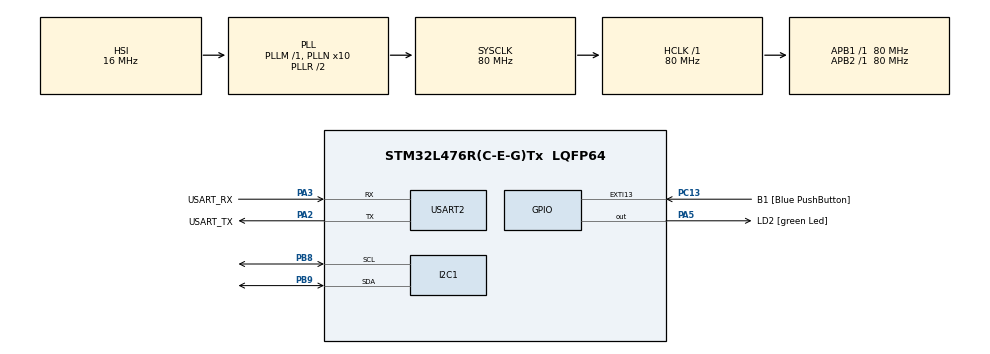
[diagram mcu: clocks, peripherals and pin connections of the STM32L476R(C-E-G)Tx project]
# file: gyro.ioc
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I2C1.Timing=0x10D19CE4
Mcu.Family=STM32L4
Mcu.Name=STM32L476R(C-E-G)Tx
Mcu.Package=LQFP64
NVIC.PriorityGroup=NVIC_PRIORITYGROUP_4
PA13\ (JTMS-SWDIO).GPIO_Label=TMS
PA13\ (JTMS-SWDIO).Mode=Serial_Wire
PA13\ (JTMS-SWDIO).Signal=SYS_JTMS-SWDIO
PA14\ (JTCK-SWCLK).GPIO_Label=TCK
PA14\ (JTCK-SWCLK).Mode=Serial_Wire
PA14\ (JTCK-SWCLK).Signal=SYS_JTCK-SWCLK
PA2.GPIO_Label=USART_TX
PA2.GPIO_Mode=GPIO_MODE_AF_PP
PA2.GPIO_PuPd=GPIO_NOPULL
PA2.GPIO_Speed=GPIO_SPEED_FREQ_VERY_HIGH
PA2.Mode=Asynchronous
PA2.Signal=USART2_TX
PA3.GPIO_Label=USART_RX
PA3.GPIO_Mode=GPIO_MODE_AF_PP
PA3.GPIO_PuPd=GPIO_NOPULL
PA3.GPIO_Speed=GPIO_SPEED_FREQ_VERY_HIGH
PA3.Mode=Asynchronous
PA3.Signal=USART2_RX
PA5.GPIO_Label=LD2 [green Led]
PA5.GPIO_ModeDefaultOutputPP=GPIO_MODE_OUTPUT_PP
PA5.GPIO_PuPd=GPIO_NOPULL
PA5.GPIO_Speed=GPIO_SPEED_FREQ_LOW
PA5.Signal=GPIO_Output
PB3\ (JTDO-TRACESWO).GPIO_Label=SWO
PB3\ (JTDO-TRACESWO).Signal=SYS_JTDO-SWO
PB8.Mode=I2C
PB8.Signal=I2C1_SCL
PB9.Mode=I2C
PB9.Signal=I2C1_SDA
PC13.GPIO_Label=B1 [Blue PushButton]
PC13.GPIO_ModeDefaultEXTI=GPIO_MODE_IT_FALLING
PC13.GPIO_PuPd=GPIO_NOPULL
PC13.Signal=GPXTI13
PC14-OSC32_IN\ (PC14).Mode=LSE-External-Oscillator
PC14-OSC32_IN\ (PC14).Signal=RCC_OSC32_IN
PC15-OSC32_OUT\ (PC15).Mode=LSE-External-Oscillator
PC15-OSC32_OUT\ (PC15).Signal=RCC_OSC32_OUT
PH0-OSC_IN\ (PH0).Signal=RCC_OSC_IN
PH1-OSC_OUT\ (PH1).Signal=RCC_OSC_OUT
ProjectManager.HeapSize=0x200
ProjectManager.StackSize=0x400
ProjectManager.TargetToolchain=STM32CubeIDE
RCC.ADCFreq_Value=64000000
RCC.AHBFreq_Value=80000000
RCC.APB1Freq_Value=80000000
RCC.APB1TimFreq_Value=80000000
RCC.APB2Freq_Value=80000000
RCC.APB2TimFreq_Value=80000000
RCC.CortexFreq_Value=80000000
RCC.HCLKFreq_Value=80000000
RCC.HSE_VALUE=8000000
RCC.HSI_VALUE=16000000
RCC.MSI_VALUE=4000000
RCC.PLLN=10
RCC.PLLSourceVirtual=RCC_PLLSOURCE_HSI
RCC.PREFETCH_ENABLE=1
RCC.SYSCLKFreq_VALUE=80000000
RCC.SYSCLKSource=RCC_SYSCLKSOURCE_PLLCLK
RCC.USBFreq_Value=64000000
RCC.VCOOutputFreq_Value=160000000
USART2.VirtualMode-Asynchronous=VM_ASYNC
board=NUCLEO-L476RG

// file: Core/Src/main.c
/* USER CODE BEGIN Header */
/**
  ******************************************************************************
  * @file           : main.c
  * @brief          : Main program body
  ******************************************************************************
  * @attention
  *
  * Copyright (c) 2025 STMicroelectronics.
  * All rights reserved.
  *
  * This software is licensed under terms that can be found in the LICENSE file
  * in the root directory of this software component.
  * If no LICENSE file comes with this software, it is provided AS-IS.
  *
  ******************************************************************************
  */
/* USER CODE END Header */
#include "main.h"

/* USER CODE BEGIN Includes */
#include"stdio.h"
#include "string.h"
#include "mpu.h"
#include "NanoEdgeAI.h"
#include "knowledge.h"
/* USER CODE END Includes */

I2C_HandleTypeDef hi2c1;

UART_HandleTypeDef huart2;

/* USER CODE BEGIN PV */
float input_user_buffer[DATA_INPUT_USER * AXIS_NUMBER]; // Buffer of input values
float output_class_buffer[CLASS_NUMBER]; // Buffer of class probabilities
const char *id2class[CLASS_NUMBER + 1] = { // Buffer for mapping class id to class name
	"unknown",
	"Z_AXIS",
	"Y_AXIS",
	"X_AXIS",
};
/* USER CODE END PV */

void SystemClock_Config(void);
static void MX_GPIO_Init(void);
static void MX_USART2_UART_Init(void);
static void MX_I2C1_Init(void);

int main(void)
{

  /* MCU Configuration--------------------------------------------------------*/

  /* Reset of all peripherals, Initializes the Flash interface and the Systick. */
  HAL_Init();

  /* Configure the system clock */
  SystemClock_Config();

  /* Initialize all configured peripherals */
  MX_GPIO_Init();
  MX_USART2_UART_Init();
  MX_I2C1_Init();

  /* Infinite loop */
  while (1)
  {

  }
}

void SystemClock_Config(void)
{
  RCC_OscInitTypeDef RCC_OscInitStruct = {0};
  RCC_ClkInitTypeDef RCC_ClkInitStruct = {0};

  /** Configure the main internal regulator output voltage
  */
  if (HAL_PWREx_ControlVoltageScaling(PWR_REGULATOR_VOLTAGE_SCALE1) != HAL_OK)
  {
    Error_Handler();
  }

  /** Initializes the RCC Oscillators according to the specified parameters
  * in the RCC_OscInitTypeDef structure.
  */
  RCC_OscInitStruct.OscillatorType = RCC_OSCILLATORTYPE_HSI;
  RCC_OscInitStruct.HSIState = RCC_HSI_ON;
  RCC_OscInitStruct.HSICalibrationValue = RCC_HSICALIBRATION_DEFAULT;
  RCC_OscInitStruct.PLL.PLLState = RCC_PLL_ON;
  RCC_OscInitStruct.PLL.PLLSource = RCC_PLLSOURCE_HSI;
  RCC_OscInitStruct.PLL.PLLM = 1;
  RCC_OscInitStruct.PLL.PLLN = 10;
  RCC_OscInitStruct.PLL.PLLP = RCC_PLLP_DIV7;
  RCC_OscInitStruct.PLL.PLLQ = RCC_PLLQ_DIV2;
  RCC_OscInitStruct.PLL.PLLR = RCC_PLLR_DIV2;
  if (HAL_RCC_OscConfig(&RCC_OscInitStruct) != HAL_OK)
  {
    Error_Handler();
  }

  /** Initializes the CPU, AHB and APB buses clocks
  */
  RCC_ClkInitStruct.ClockType = RCC_CLOCKTYPE_HCLK|RCC_CLOCKTYPE_SYSCLK
                              |RCC_CLOCKTYPE_PCLK1|RCC_CLOCKTYPE_PCLK2;
  RCC_ClkInitStruct.SYSCLKSource = RCC_SYSCLKSOURCE_PLLCLK;
  RCC_ClkInitStruct.AHBCLKDivider = RCC_SYSCLK_DIV1;
  RCC_ClkInitStruct.APB1CLKDivider = RCC_HCLK_DIV1;
  RCC_ClkInitStruct.APB2CLKDivider = RCC_HCLK_DIV1;

  if (HAL_RCC_ClockConfig(&RCC_ClkInitStruct, FLASH_LATENCY_4) != HAL_OK)
  {
    Error_Handler();
  }
}

static void MX_I2C1_Init(void)
{

  hi2c1.Instance = I2C1;
  hi2c1.Init.Timing = 0x10D19CE4;
  hi2c1.Init.OwnAddress1 = 0;
  hi2c1.Init.AddressingMode = I2C_ADDRESSINGMODE_7BIT;
  hi2c1.Init.DualAddressMode = I2C_DUALADDRESS_DISABLE;
  hi2c1.Init.OwnAddress2 = 0;
  hi2c1.Init.OwnAddress2Masks = I2C_OA2_NOMASK;
  hi2c1.Init.GeneralCallMode = I2C_GENERALCALL_DISABLE;
  hi2c1.Init.NoStretchMode = I2C_NOSTRETCH_DISABLE;
  if (HAL_I2C_Init(&hi2c1) != HAL_OK)
  {
    Error_Handler();
  }

  /** Configure Analogue filter
  */
  if (HAL_I2CEx_ConfigAnalogFilter(&hi2c1, I2C_ANALOGFILTER_ENABLE) != HAL_OK)
  {
    Error_Handler();
  }

  /** Configure Digital filter
  */
  if (HAL_I2CEx_ConfigDigitalFilter(&hi2c1, 0) != HAL_OK)
  {
    Error_Handler();
  }

}

static void MX_USART2_UART_Init(void)
{

  huart2.Instance = USART2;
  huart2.Init.BaudRate = 115200;
  huart2.Init.WordLength = UART_WORDLENGTH_8B;
  huart2.Init.StopBits = UART_STOPBITS_1;
  huart2.Init.Parity = UART_PARITY_NONE;
  huart2.Init.Mode = UART_MODE_TX_RX;
  huart2.Init.HwFlowCtl = UART_HWCONTROL_NONE;
  huart2.Init.OverSampling = UART_OVERSAMPLING_16;
  huart2.Init.OneBitSampling = UART_ONE_BIT_SAMPLE_DISABLE;
  huart2.AdvancedInit.AdvFeatureInit = UART_ADVFEATURE_NO_INIT;
  if (HAL_UART_Init(&huart2) != HAL_OK)
  {
    Error_Handler();
  }

}

static void MX_GPIO_Init(void)
{
  GPIO_InitTypeDef GPIO_InitStruct = {0};

  /* GPIO Ports Clock Enable */
  __HAL_RCC_GPIOC_CLK_ENABLE();
  __HAL_RCC_GPIOH_CLK_ENABLE();
  __HAL_RCC_GPIOA_CLK_ENABLE();
  __HAL_RCC_GPIOB_CLK_ENABLE();

  /*Configure GPIO pin Output Level */
  HAL_GPIO_WritePin(LD2_GPIO_Port, LD2_Pin, GPIO_PIN_RESET);

  /*Configure GPIO pin : B1_Pin */
  GPIO_InitStruct.Pin = B1_Pin;
  GPIO_InitStruct.Mode = GPIO_MODE_IT_FALLING;
  GPIO_InitStruct.Pull = GPIO_NOPULL;
  HAL_GPIO_Init(B1_GPIO_Port, &GPIO_InitStruct);

  /*Configure GPIO pin : LD2_Pin */
  GPIO_InitStruct.Pin = LD2_Pin;
  GPIO_InitStruct.Mode = GPIO_MODE_OUTPUT_PP;
  GPIO_InitStruct.Pull = GPIO_NOPULL;
  GPIO_InitStruct.Speed = GPIO_SPEED_FREQ_LOW;
  HAL_GPIO_Init(LD2_GPIO_Port, &GPIO_InitStruct);

}

/* USER CODE BEGIN 4 */
int __io_putchar(int ch)
{
	HAL_UART_Transmit(&huart2, (uint8_t *)&ch, 1, HAL_MAX_DELAY);
	return ch;

}
/* USER CODE END 4 */

void Error_Handler(void)
{
  __disable_irq();
  while (1)
  {
  }
}
